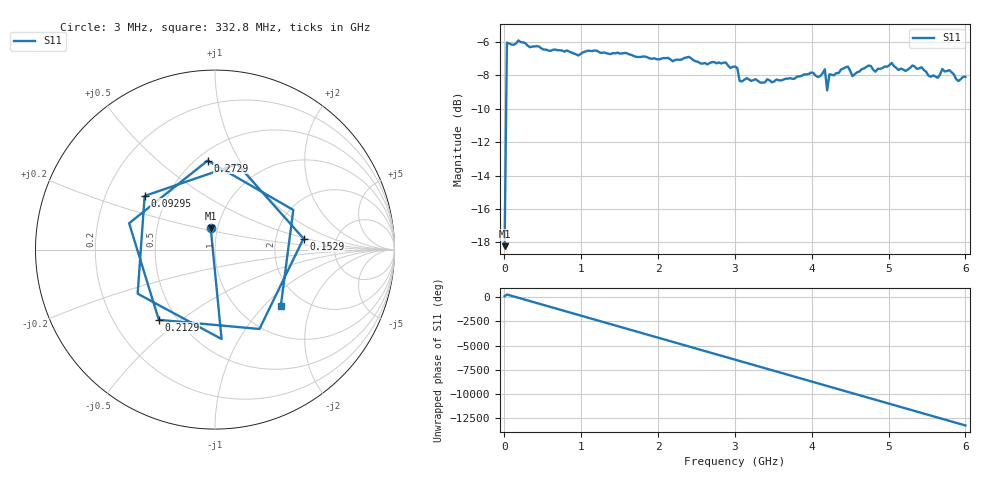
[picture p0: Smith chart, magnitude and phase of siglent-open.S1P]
! C:\data\Siglent F603FE cal kit tests\avg 16 100hz ifbw\siglent open.S1P
! Touchstone 1.1 file saved by VNA.EXE V1.60 (www.ke5fx.com/gpib/readme.htm)
! 26/07/2020 12:27:06 p.m.
!  Source: HEWLETT PACKARD,8753C,0,4.12
!  Min freq: 3.000000E+006 Hz
!  Max freq: 6.000000E+009 Hz
!  Points: 201
!  Params: S11
# GHZ S DB R 50
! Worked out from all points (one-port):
!   201 points, 3 MHz to 6 GHz, reference 50 ohm
!   lowest |S11| = -18.2 dB at 3 MHz (marker M1), VSWR 1.28, Z = 46.3 + j11.3 ohm
!   |S11| at or under -10 dB: start of sweep to 23.22 MHz
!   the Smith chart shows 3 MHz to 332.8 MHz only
!   S11 on the Smith chart (normalised r, x): 3 MHz: 0.93, +0.23; 92.95 MHz: 0.37, +0.29; 152.9 MHz: 2.89, +0.47; 212.9 MHz: 0.40, -0.42; 272.9 MHz: 0.57, +0.75; 332.8 MHz: 1.53, -1.26
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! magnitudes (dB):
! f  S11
! 3 MHz  -18.2
! 32.98 MHz  -6.0
! 92.95 MHz  -6.1
! 152.9 MHz  -6.1
! 212.9 MHz  -6.0
! 272.9 MHz  -6.1
! 332.8 MHz  -6.3
! 752.6 MHz  -6.5
! 1.502 GHz  -6.7
! 2.252 GHz  -7.0
! 3.002 GHz  -7.5
! 3.091 GHz  -8.4
! 3.751 GHz  -8.2
! 4.081 GHz  -8.1
! 4.171 GHz  -7.6
! 4.201 GHz  -8.9
! 4.231 GHz  -7.9
! 4.501 GHz  -7.7
! 4.531 GHz  -8.0
! 4.741 GHz  -7.4
! 4.831 GHz  -7.8
! 5.04 GHz  -7.2
! 5.25 GHz  -7.6
! 5.43 GHz  -7.5
! 5.64 GHz  -8.1
! 5.79 GHz  -7.7
! 5.91 GHz  -8.3
! 6 GHz  -8.1
